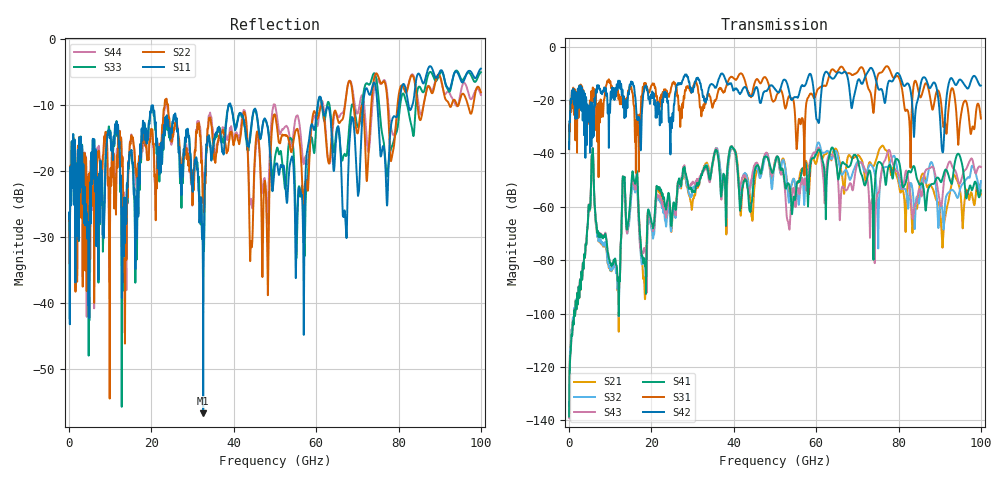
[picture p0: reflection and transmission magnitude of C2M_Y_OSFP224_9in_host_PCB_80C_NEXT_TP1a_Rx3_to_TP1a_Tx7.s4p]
# GHz S RI R 45
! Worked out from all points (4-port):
!   4000 points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, 25 MHz to 100 GHz, reference 45 ohm
!   strongest paths, dB at 25 MHz, 25.02 GHz, 50.02 GHz, 75.03 GHz, 100 GHz:
!     S42: -38.3, -28.8, -16.0, -15.6, -14.6
!     S31: -38.4, -14.0, -20.0, -10.6, -26.9
!     S41: -138.5, -63.5, -43.7, -43.5, -53.8
!     S43: -139.0, -62.9, -43.1, -54.8, -45.1
!     S32: -134.6, -64.7, -43.2, -70.8, -50.3
!     S21: -134.5, -65.7, -42.9, -39.9, -55.4
!   lowest |S11| = -56.7 dB at 32.58 GHz (marker M1), VSWR 1.00, Z = 45.1 + j0.0536 ohm
!   |S11| at or under -10 dB: start of sweep to 38.73 GHz; 39.22 GHz to 60.37 GHz (21.14 GHz wide, 42.5 % of centre); 61.45 GHz to 71.42 GHz (9.968 GHz wide, 15 % of centre) (the widest 3 of 5)
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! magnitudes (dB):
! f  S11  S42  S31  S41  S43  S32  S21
! 25 MHz  -27.3  -38.3  -38.4  -138.5  -139.0  -134.6  -134.5
! 5.7 GHz  -17.0  -27.1  -16.6  -39.3  -39.2  -39.3  -39.4
! 10.3 GHz  -16.7  -19.6  -15.1  -82.2  -82.0  -83.9  -84.1
! 16.15 GHz  -31.5  -19.6  -33.0  -50.9  -53.2  -54.2  -51.9
! 18.23 GHz  -13.2  -16.6  -13.8  -79.2  -75.6  -79.5  -87.2
! 32.58 GHz  -56.7  -18.7  -22.8  -46.6  -47.0  -46.5  -46.2
! 100 GHz  -4.5  -14.6  -26.9  -53.8  -45.1  -50.3  -55.4
